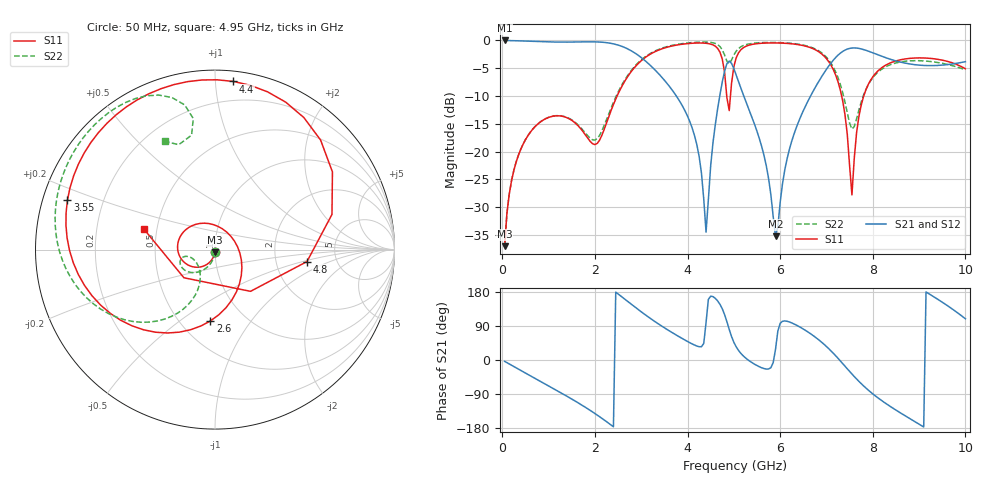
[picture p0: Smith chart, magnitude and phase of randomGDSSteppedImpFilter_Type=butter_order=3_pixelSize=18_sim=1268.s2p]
! freq	dB(S11)	phase(S11)	dB(S12)	phase(S12)
!  dB(S21)	phase(S21)	dB(S22)	phase(S22)
!S-par simulation data
#  GHz  S  DB  R 50
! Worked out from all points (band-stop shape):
!   200 points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, 50 MHz to 10 GHz, reference 50 ohm
!   highest |S21| = -0.01 dB at 50 MHz (marker M1); lowest = -35.3 dB at 5.9 GHz (marker M2)
!   |S21| within 3 dB of the highest: start of sweep to 2.988 GHz; 7.207 GHz to 8.244 GHz (1.036 GHz wide, 13.4 % of centre)
!   lowest |S11| = -37.0 dB at 50 MHz (marker M3), VSWR 1.03, Z = 49.9 - j1.4 ohm
!   |S11| at or under -10 dB: start of sweep to 2.48 GHz; 4.847 GHz to 4.927 GHz (80.22 MHz wide, 1.64 % of centre); 7.327 GHz to 7.805 GHz (477.8 MHz wide, 6.31 % of centre)
!   |S22| runs from -37.0 to -0.3 dB; largest |S21 - S12| = 0
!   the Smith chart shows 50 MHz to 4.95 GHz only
!   S11 on the Smith chart (normalised r, x): 50 MHz: 1.00, -0.03; 2.6 GHz: 0.70, -0.66; 3.55 GHz: 0.07, +0.16; 4.4 GHz: 0.07, +1.11; 4.8 GHz: 3.03, -0.55; 4.95 GHz: 0.43, +0.11
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0.05  -37.04 -93.5  -0.01 -3.5  -0.01 -3.5  -37.03 -92.3
0.25  -23.38 -110.2  -0.05 -17.3  -0.05 -17.3  -23.37 -104.6
0.6  -16.58 -138.7  -0.15 -41.3  -0.15 -41.3  -16.57 -124.6
1.75  -16.50 103.8  -0.26 -121.4  -0.26 -121.4  -16.24 -165.6
2.6  -8.00 -93.7  -1.13 164.9  -1.13 164.9  -7.74 -120.5
3.4  -1.65 175.5  -6.21 92.9  -6.21 92.9  -1.54 -172.8
3.55  -1.24 161.5  -7.66 81.1  -7.66 81.1  -1.13 177.7
4.15  -0.49 108.5  -17.10 39.5  -17.10 39.5  -0.35 142.6
4.4  -0.51 83.8  -34.51 98.9  -34.51 98.9  -0.30 127.8
4.65  -1.43 46.1  -12.32 156.0  -12.32 156.0  -0.76 110.0
4.8  -5.73 -7.4  -5.53 119.8  -5.53 119.8  -2.62 99.4
4.95  -7.75 164.1  -4.13 62.1  -4.13 62.1  -3.54 115.0
5.05  -3.15 119.1  -6.21 34.9  -6.21 34.9  -1.94 113.7
5.3  -0.93 74.9  -11.86 0.8  -11.86 0.8  -0.68 97.5
5.9  -0.45 23.2  -35.28 28.3  -35.28 28.3  -0.38 61.8
6.7  -1.45 -37.9  -9.33 65.6  -9.33 65.6  -1.33 6.5
7.3  -8.96 -100.2  -2.29 -2.4  -2.29 -2.4  -7.94 -48.1
7.55  -27.80 -36.8  -1.37 -37.0  -1.37 -37.0  -15.95 -21.1
7.8  -10.12 4.9  -1.64 -68.2  -1.64 -68.2  -9.87 12.8
8.35  -4.16 -37.3  -3.31 -120.3  -3.31 -120.3  -4.47 -28.5
9.15  -3.18 -85.2  -4.52 179.5  -4.52 179.5  -3.72 -96.4
10  -5.11 -147.3  -3.83 108.8  -3.83 108.8  -5.30 -176.1
